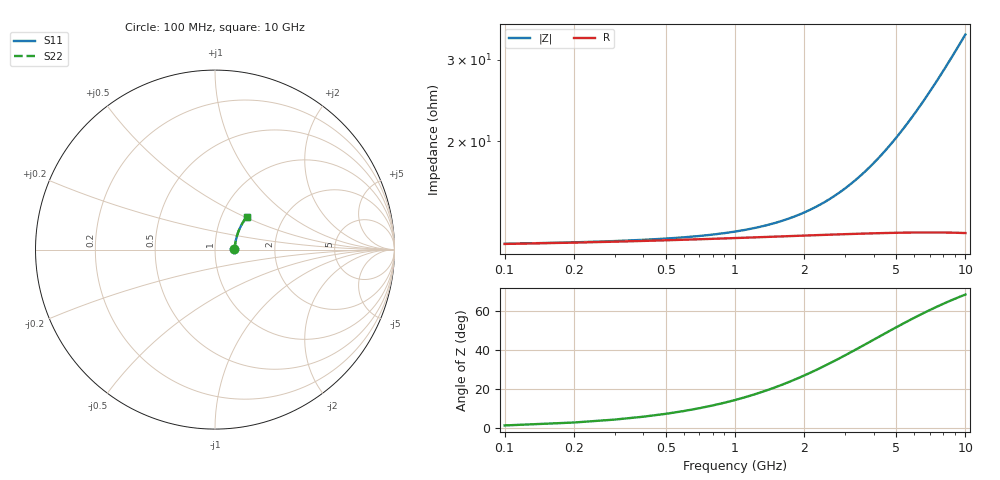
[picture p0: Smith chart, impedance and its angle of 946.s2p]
# Hz S RI R 50.00
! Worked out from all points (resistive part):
!   100 points, 100 MHz to 10 GHz, reference 50 ohm
!   read as one part in series: R = 12 ohm at 100 MHz
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1e8  0.1071 0.00206  0.8929 -0.00301  0.8929 -0.00301  0.1071 0.00206
2e8  0.1078 0.00411  0.8922 -0.006  0.8922 -0.006  0.1078 0.00411
3e8  0.1083 0.00616  0.8917 -0.009  0.8917 -0.009  0.1083 0.00616
8e8  0.11 0.0164  0.8899 -0.0239  0.8899 -0.0239  0.11 0.0164
1.1e9  0.111 0.0224  0.889 -0.0329  0.889 -0.0329  0.111 0.0224
1.4e9  0.1119 0.0285  0.888 -0.0418  0.888 -0.0418  0.1119 0.0285
1.8e9  0.1133 0.0366  0.8866 -0.0536  0.8866 -0.0536  0.1133 0.0366
2.1e9  0.1144 0.0426  0.8854 -0.0624  0.8854 -0.0624  0.1144 0.0426
2.5e9  0.116 0.0505  0.8837 -0.0742  0.8837 -0.0742  0.116 0.0505
2.9e9  0.1177 0.0585  0.8818 -0.0859  0.8818 -0.0859  0.1177 0.0585
3.4e9  0.1202 0.0683  0.8792 -0.1005  0.8792 -0.1005  0.1202 0.0683
4.3e9  0.1253 0.0857  0.8738 -0.1264  0.8738 -0.1264  0.1253 0.0857
5.1e9  0.1307 0.1008  0.8681 -0.1491  0.8681 -0.1491  0.1307 0.1008
5.9e9  0.1368 0.1156  0.8616 -0.1715  0.8616 -0.1715  0.1368 0.1156
6.7e9  0.1435 0.13  0.8543 -0.1934  0.8543 -0.1934  0.1435 0.13
7.2e9  0.1481 0.1387  0.8494 -0.2069  0.8494 -0.2069  0.1481 0.1387
7.6e9  0.152 0.1456  0.8452 -0.2176  0.8452 -0.2176  0.152 0.1456
8e9  0.156 0.1523  0.8409 -0.2281  0.8409 -0.2281  0.156 0.1523
8.4e9  0.1602 0.1589  0.8364 -0.2386  0.8364 -0.2386  0.1602 0.1589
8.8e9  0.1646 0.1654  0.8317 -0.2489  0.8317 -0.2489  0.1646 0.1654
9.2e9  0.169 0.1717  0.8269 -0.259  0.8269 -0.259  0.169 0.1717
1e10  0.1784 0.184  0.8168 -0.2789  0.8168 -0.2789  0.1784 0.184
